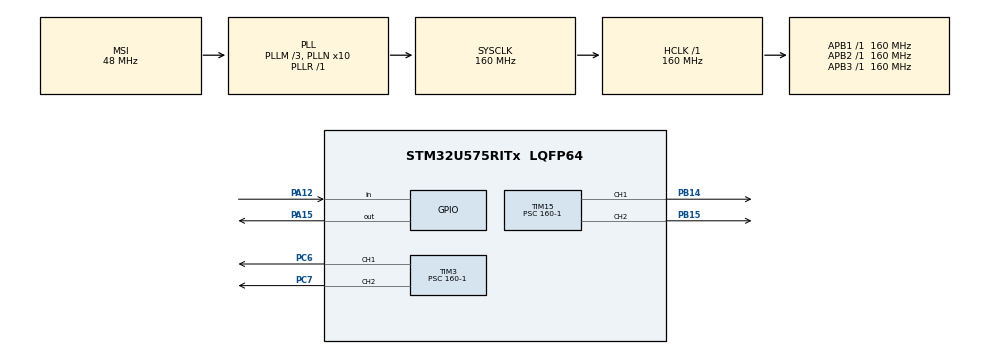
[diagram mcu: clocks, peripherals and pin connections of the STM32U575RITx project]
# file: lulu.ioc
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CORTEX_M33_NS.userName=CORTEX_M33
Mcu.Family=STM32U5
Mcu.Name=STM32U575RITx
Mcu.Package=LQFP64
NVIC.PriorityGroup=NVIC_PRIORITYGROUP_4
NVIC.TIM15_IRQn=true\:0\:0\:false\:false\:true\:true\:true\:true
NVIC.TIM3_IRQn=true\:0\:0\:false\:false\:true\:true\:true\:true
PA12.Signal=GPIO_Input
PA15\ (JTDI).Signal=GPIO_Output
PB14.Signal=S_TIM15_CH1
PB15.Signal=S_TIM15_CH2
PC6.Signal=S_TIM3_CH1
PC7.Signal=S_TIM3_CH2
ProjectManager.HeapSize=0x200
ProjectManager.StackSize=0x400
ProjectManager.TargetToolchain=MDK-ARM V5.32
RCC.ADCFreq_Value=16000000
RCC.AHBFreq_Value=160000000
RCC.APB1Freq_Value=160000000
RCC.APB1TimFreq_Value=160000000
RCC.APB2Freq_Value=160000000
RCC.APB2TimFreq_Value=160000000
RCC.APB3Freq_Value=160000000
RCC.CortexFreq_Value=160000000
RCC.EPOD_VALUE=48000000
RCC.HCLKFreq_Value=160000000
RCC.HSE_VALUE=16000000
RCC.HSI48_VALUE=48000000
RCC.HSI_VALUE=16000000
RCC.LSE_VALUE=32768
RCC.LSIDIV_VALUE=32000
RCC.MSIClockRange=RCC_MSIRANGE_0
RCC.MSI_VALUE=48000000
RCC.PLL1R=1
RCC.PLL2FRACN=0
RCC.PLL3FRACN=0
RCC.PLLFRACN=0
RCC.PLLM=3
RCC.PLLN=10
RCC.SYSCLKFreq_VALUE=160000000
RCC.SYSCLKSource=RCC_SYSCLKSOURCE_PLLCLK
RCC.USBFreq_Value=48000000
RCC.VCOOutputFreq_Value=160000000
SH.S_TIM15_CH1.0=TIM15_CH1,PWM Generation1 CH1
SH.S_TIM15_CH2.0=TIM15_CH2,Output Compare2 CH2
SH.S_TIM3_CH1.0=TIM3_CH1,PWM Generation1 CH1
SH.S_TIM3_CH2.0=TIM3_CH2,PWM Generation2 CH2
TIM15.Channel-Output\ Compare2\ CH2=TIM_CHANNEL_2
TIM15.Channel-PWM\ Generation1\ CH1=TIM_CHANNEL_1
TIM15.PeriodNoDither=20000
TIM15.Prescaler=160-1
TIM3.Channel-PWM\ Generation1\ CH1=TIM_CHANNEL_1
TIM3.Channel-PWM\ Generation2\ CH2=TIM_CHANNEL_2
TIM3.PeriodNoDither=20000
TIM3.Prescaler=160-1
VP_LPBAMQUEUE_VS_QUEUE.Mode=QUEUEMODE
VP_LPBAM_VS_SIG1.Mode=SmartRun
VP_LPBAM_VS_SIG4.Mode=LPDMA1
VP_PWR_VS_DBSignals.Mode=DisableDeadBatterySignals
VP_PWR_VS_LPOM.Mode=PowerOptimisation
VP_PWR_VS_SECSignals.Mode=Security/Privilege
board=custom

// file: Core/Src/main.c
/* USER CODE BEGIN Header */
/**
  ******************************************************************************
  * @file           : main.c
  * @brief          : Main program body
  ******************************************************************************
  * @attention
  *
  * Copyright (c) 2025 STMicroelectronics.
  * All rights reserved.
  *
  * This software is licensed under terms that can be found in the LICENSE file
  * in the root directory of this software component.
  * If no LICENSE file comes with this software, it is provided AS-IS.
  *
  ******************************************************************************
  */
/* USER CODE END Header */
#include "main.h"
#include "tim.h"
#include "gpio.h"

/* USER CODE BEGIN Includes */
#include "Servo.h"
/* USER CODE END Includes */

void SystemClock_Config(void);
static void SystemPower_Config(void);

/* USER CODE BEGIN 0 */

void beepNum(int num){
	for(int i=0;i<num;i++){//?  num
		HAL_GPIO_WritePin(	GPIOA,GPIO_PIN_15,GPIO_PIN_SET);//
		HAL_Delay(300);//   300ms
		HAL_GPIO_WritePin(	GPIOA,GPIO_PIN_15,GPIO_PIN_RESET);//
		HAL_Delay(300);//   300ms
	}
}

void move1(){//PC7       ?K
	for(int i=0;i<5;i++){
		Servo_Angle1(0);
		HAL_Delay(200);
		Servo_Angle1(50);
		HAL_Delay(200);
		Servo_Angle1(90);
		HAL_Delay(200);
		Servo_Angle1(120);
		HAL_Delay(200);
	}
}
void move2(){//PC6        ?K
	for(int i=0;i<5;i++){
		Servo_Angle2(0);
		HAL_Delay(200);
		Servo_Angle2(50);
		HAL_Delay(200);
		Servo_Angle2(90);
		HAL_Delay(200);
		Servo_Angle2(120);
		HAL_Delay(200);
	}
}

void move3(){//PB15        ?K
	for(int i=0;i<5;i++){
		Servo_Angle3(0);
		HAL_Delay(200);
		Servo_Angle3(50);
		HAL_Delay(200);
		Servo_Angle3(90);
		HAL_Delay(200);
		Servo_Angle3(120);
		HAL_Delay(200);
	}
}

void move4(){//PB14        ?K
	for(int i=0;i<5;i++){
		Servo_Angle4(0);
		HAL_Delay(200);
		Servo_Angle4(50);
		HAL_Delay(200);
		Servo_Angle4(90);
		HAL_Delay(200);
		Servo_Angle4(120);
		HAL_Delay(200);
	}
}
/* USER CODE END 0 */

int main(void)
{

  /* MCU Configuration--------------------------------------------------------*/

  /* Reset of all peripherals, Initializes the Flash interface and the Systick. */
  HAL_Init();

  /* Configure the system clock */
  SystemClock_Config();

  /* Configure the System Power */
  SystemPower_Config();

  /* Initialize all configured peripherals */
  MX_GPIO_Init();
  MX_TIM3_Init();
  MX_TIM15_Init();
  /* USER CODE BEGIN 2 */
	Servo_Init();//
	move1();
	move2();
	move3();
	move4();
  /* USER CODE END 2 */
  /* Infinite loop */
  /* USER CODE BEGIN WHILE */
  while (1)
  {
		if(GPIO_PIN_RESET == HAL_GPIO_ReadPin(GPIOA,GPIO_PIN_12))
			move3();
    /* USER CODE END WHILE */

  }
}

void SystemClock_Config(void)
{
  RCC_OscInitTypeDef RCC_OscInitStruct = {0};
  RCC_ClkInitTypeDef RCC_ClkInitStruct = {0};

  /** Configure the main internal regulator output voltage
  */
  if (HAL_PWREx_ControlVoltageScaling(PWR_REGULATOR_VOLTAGE_SCALE1) != HAL_OK)
  {
    Error_Handler();
  }

  /** Initializes the CPU, AHB and APB buses clocks
  */
  RCC_OscInitStruct.OscillatorType = RCC_OSCILLATORTYPE_MSI;
  RCC_OscInitStruct.MSIState = RCC_MSI_ON;
  RCC_OscInitStruct.MSICalibrationValue = RCC_MSICALIBRATION_DEFAULT;
  RCC_OscInitStruct.MSIClockRange = RCC_MSIRANGE_0;
  RCC_OscInitStruct.PLL.PLLState = RCC_PLL_ON;
  RCC_OscInitStruct.PLL.PLLSource = RCC_PLLSOURCE_MSI;
  RCC_OscInitStruct.PLL.PLLMBOOST = RCC_PLLMBOOST_DIV4;
  RCC_OscInitStruct.PLL.PLLM = 3;
  RCC_OscInitStruct.PLL.PLLN = 10;
  RCC_OscInitStruct.PLL.PLLP = 2;
  RCC_OscInitStruct.PLL.PLLQ = 2;
  RCC_OscInitStruct.PLL.PLLR = 1;
  RCC_OscInitStruct.PLL.PLLRGE = RCC_PLLVCIRANGE_1;
  RCC_OscInitStruct.PLL.PLLFRACN = 0;
  if (HAL_RCC_OscConfig(&RCC_OscInitStruct) != HAL_OK)
  {
    Error_Handler();
  }

  /** Initializes the CPU, AHB and APB buses clocks
  */
  RCC_ClkInitStruct.ClockType = RCC_CLOCKTYPE_HCLK|RCC_CLOCKTYPE_SYSCLK
                              |RCC_CLOCKTYPE_PCLK1|RCC_CLOCKTYPE_PCLK2
                              |RCC_CLOCKTYPE_PCLK3;
  RCC_ClkInitStruct.SYSCLKSource = RCC_SYSCLKSOURCE_PLLCLK;
  RCC_ClkInitStruct.AHBCLKDivider = RCC_SYSCLK_DIV1;
  RCC_ClkInitStruct.APB1CLKDivider = RCC_HCLK_DIV1;
  RCC_ClkInitStruct.APB2CLKDivider = RCC_HCLK_DIV1;
  RCC_ClkInitStruct.APB3CLKDivider = RCC_HCLK_DIV1;

  if (HAL_RCC_ClockConfig(&RCC_ClkInitStruct, FLASH_LATENCY_4) != HAL_OK)
  {
    Error_Handler();
  }
}

/**
  * @brief Power Configuration
  * @retval None
  */
static void SystemPower_Config(void)
{

  /*
   * Disable the internal Pull-Up in Dead Battery pins of UCPD peripheral
   */
  HAL_PWREx_DisableUCPDDeadBattery();
}

void Error_Handler(void)
{
  __disable_irq();
  while (1)
  {
  }
}
